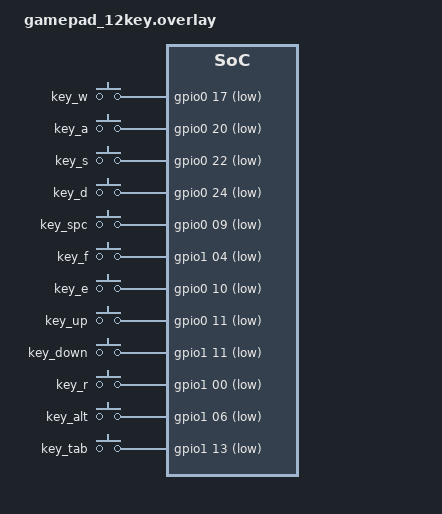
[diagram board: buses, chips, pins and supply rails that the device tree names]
/ {
    gpio_keymap {
        compatible = "zmk,gpio-keymap";
        status = "okay";
        debounce-period = <15>;  /* 月牙胶垫导电膜，单位ms */

        keys {
            key_w: key_0  { gpios = <&gpio0 17  GPIO_ACTIVE_LOW>; };
            key_a: key_1  { gpios = <&gpio0 20  GPIO_ACTIVE_LOW>; };
            key_s: key_2  { gpios = <&gpio0 22  GPIO_ACTIVE_LOW>; };
            key_d: key_3  { gpios = <&gpio0 24  GPIO_ACTIVE_LOW>; };
            key_spc:key_4 { gpios = <&gpio0 09  GPIO_ACTIVE_LOW>; };
            key_f: key_5  { gpios = <&gpio1 04  GPIO_ACTIVE_LOW>; };
            key_e: key_6  { gpios = <&gpio0 10  GPIO_ACTIVE_LOW>; };
            key_up: key_7 { gpios = <&gpio0 11  GPIO_ACTIVE_LOW>; };
            key_down:key_8{ gpios = <&gpio1 11 GPIO_ACTIVE_LOW>; };
            key_r: key_9  { gpios = <&gpio1 00 GPIO_ACTIVE_LOW>; };
            key_alt:key_10{ gpios = <&gpio1 06 GPIO_ACTIVE_LOW>; };
            key_tab:key_11{ gpios = <&gpio1 13 GPIO_ACTIVE_LOW>; };
        };
    };
};
